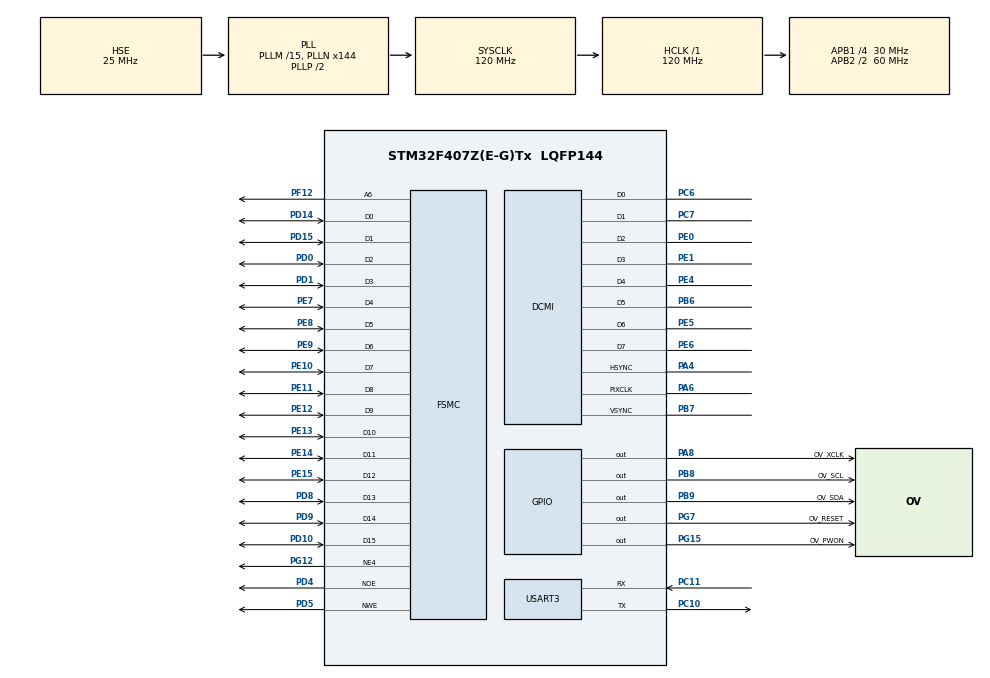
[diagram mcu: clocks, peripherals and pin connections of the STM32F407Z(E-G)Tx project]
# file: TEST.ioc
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DCMI.PCKPolarity=DCMI_PCKPOLARITY_RISING
Dma.DCMI.1.Direction=DMA_PERIPH_TO_MEMORY
Dma.DCMI.1.FIFOMode=DMA_FIFOMODE_ENABLE
Dma.DCMI.1.FIFOThreshold=DMA_FIFO_THRESHOLD_FULL
Dma.DCMI.1.Instance=DMA2_Stream1
Dma.DCMI.1.MemBurst=DMA_MBURST_SINGLE
Dma.DCMI.1.MemDataAlignment=DMA_MDATAALIGN_HALFWORD
Dma.DCMI.1.MemInc=DMA_MINC_ENABLE
Dma.DCMI.1.Mode=DMA_CIRCULAR
Dma.DCMI.1.PeriphBurst=DMA_PBURST_SINGLE
Dma.DCMI.1.PeriphDataAlignment=DMA_PDATAALIGN_WORD
Dma.DCMI.1.PeriphInc=DMA_PINC_DISABLE
Dma.DCMI.1.Priority=DMA_PRIORITY_LOW
Dma.MEMTOMEM.0.Direction=DMA_MEMORY_TO_MEMORY
Dma.MEMTOMEM.0.FIFOMode=DMA_FIFOMODE_ENABLE
Dma.MEMTOMEM.0.FIFOThreshold=DMA_FIFO_THRESHOLD_FULL
Dma.MEMTOMEM.0.Instance=DMA2_Stream0
Dma.MEMTOMEM.0.MemBurst=DMA_MBURST_SINGLE
Dma.MEMTOMEM.0.MemDataAlignment=DMA_MDATAALIGN_HALFWORD
Dma.MEMTOMEM.0.MemInc=DMA_MINC_DISABLE
Dma.MEMTOMEM.0.Mode=DMA_NORMAL
Dma.MEMTOMEM.0.PeriphBurst=DMA_PBURST_SINGLE
Dma.MEMTOMEM.0.PeriphDataAlignment=DMA_PDATAALIGN_HALFWORD
Dma.MEMTOMEM.0.PeriphInc=DMA_PINC_ENABLE
Dma.MEMTOMEM.0.Priority=DMA_PRIORITY_LOW
Dma.Request0=MEMTOMEM
Dma.Request1=DCMI
FSMC.AddressSetupTime4=15
FSMC.BusTurnAroundDuration4=0
FSMC.DataSetupTime4=60
FSMC.ExtendedAddressSetupTime4=9
FSMC.ExtendedBusTurnAroundDuration4=0
FSMC.ExtendedDataSetupTime4=8
FSMC.ExtendedMode4=FSMC_EXTENDED_MODE_ENABLE
Mcu.Family=STM32F4
Mcu.Name=STM32F407Z(E-G)Tx
Mcu.Package=LQFP144
NVIC.DMA2_Stream1_IRQn=true\:0\:0\:false\:false\:true\:false\:true\:true
NVIC.PriorityGroup=NVIC_PRIORITYGROUP_4
PA13.Mode=Serial_Wire
PA13.Signal=SYS_JTMS-SWDIO
PA14.Mode=Serial_Wire
PA14.Signal=SYS_JTCK-SWCLK
PA4.GPIO_PuPd=GPIO_PULLUP
PA4.GPIO_Speed=GPIO_SPEED_FREQ_VERY_HIGH
PA4.Mode=Slave_8_bits_External_Synchro
PA4.Signal=DCMI_HSYNC
PA6.GPIO_PuPd=GPIO_PULLUP
PA6.GPIO_Speed=GPIO_SPEED_FREQ_VERY_HIGH
PA6.Mode=Slave_8_bits_External_Synchro
PA6.Signal=DCMI_PIXCLK
PA8.GPIO_Label=OV_XCLK
PA8.GPIO_PuPd=GPIO_PULLUP
PA8.GPIO_Speed=GPIO_SPEED_FREQ_HIGH
PA8.PinState=GPIO_PIN_SET
PA8.Signal=GPIO_Output
PB6.GPIO_PuPd=GPIO_PULLUP
PB6.GPIO_Speed=GPIO_SPEED_FREQ_VERY_HIGH
PB6.Mode=Slave_8_bits_External_Synchro
PB6.Signal=DCMI_D5
PB7.GPIO_PuPd=GPIO_PULLUP
PB7.GPIO_Speed=GPIO_SPEED_FREQ_VERY_HIGH
PB7.Mode=Slave_8_bits_External_Synchro
PB7.Signal=DCMI_VSYNC
PB8.GPIO_Label=OV_SCL
PB8.GPIO_PuPd=GPIO_PULLUP
PB8.GPIO_Speed=GPIO_SPEED_FREQ_HIGH
PB8.Signal=GPIO_Output
PB9.GPIO_Label=OV_SDA
PB9.GPIO_PuPd=GPIO_PULLUP
PB9.GPIO_Speed=GPIO_SPEED_FREQ_HIGH
PB9.Signal=GPIO_Output
PC10.Mode=Asynchronous
PC10.Signal=USART3_TX
PC11.Mode=Asynchronous
PC11.Signal=USART3_RX
PC6.GPIO_PuPd=GPIO_PULLUP
PC6.GPIO_Speed=GPIO_SPEED_FREQ_VERY_HIGH
PC6.Mode=Slave_8_bits_External_Synchro
PC6.Signal=DCMI_D0
PC7.GPIO_PuPd=GPIO_PULLUP
PC7.GPIO_Speed=GPIO_SPEED_FREQ_VERY_HIGH
PC7.Mode=Slave_8_bits_External_Synchro
PC7.Signal=DCMI_D1
PD0.Signal=FSMC_D2_DA2
PD1.Signal=FSMC_D3_DA3
PD10.Signal=FSMC_D15_DA15
PD14.Signal=FSMC_D0_DA0
PD15.Signal=FSMC_D1_DA1
PD4.Signal=FSMC_NOE
PD5.Signal=FSMC_NWE
PD8.Signal=FSMC_D13_DA13
PD9.Signal=FSMC_D14_DA14
PE0.GPIO_PuPd=GPIO_PULLUP
PE0.GPIO_Speed=GPIO_SPEED_FREQ_VERY_HIGH
PE0.Mode=Slave_8_bits_External_Synchro
PE0.Signal=DCMI_D2
PE1.GPIO_PuPd=GPIO_PULLUP
PE1.GPIO_Speed=GPIO_SPEED_FREQ_VERY_HIGH
PE1.Mode=Slave_8_bits_External_Synchro
PE1.Signal=DCMI_D3
PE10.Signal=FSMC_D7_DA7
PE11.Signal=FSMC_D8_DA8
PE12.Signal=FSMC_D9_DA9
PE13.Signal=FSMC_D10_DA10
PE14.Signal=FSMC_D11_DA11
PE15.Signal=FSMC_D12_DA12
PE4.GPIO_PuPd=GPIO_PULLUP
PE4.GPIO_Speed=GPIO_SPEED_FREQ_VERY_HIGH
PE4.Mode=Slave_8_bits_External_Synchro
PE4.Signal=DCMI_D4
PE5.GPIO_PuPd=GPIO_PULLUP
PE5.GPIO_Speed=GPIO_SPEED_FREQ_VERY_HIGH
PE5.Mode=Slave_8_bits_External_Synchro
PE5.Signal=DCMI_D6
PE6.GPIO_PuPd=GPIO_PULLUP
PE6.GPIO_Speed=GPIO_SPEED_FREQ_VERY_HIGH
PE6.Mode=Slave_8_bits_External_Synchro
PE6.Signal=DCMI_D7
PE7.Signal=FSMC_D4_DA4
PE8.Signal=FSMC_D5_DA5
PE9.Signal=FSMC_D6_DA6
PF12.Signal=FSMC_A6
PG12.Mode=NorPsramChipSelect4_4
PG12.Signal=FSMC_NE4
PG15.GPIO_Label=OV_PWON
PG15.GPIO_PuPd=GPIO_PULLUP
PG15.GPIO_Speed=GPIO_SPEED_FREQ_HIGH
PG15.Signal=GPIO_Output
PG7.GPIO_Label=OV_RESET
PG7.GPIO_PuPd=GPIO_PULLUP
PG7.GPIO_Speed=GPIO_SPEED_FREQ_HIGH
PG7.Signal=GPIO_Output
PH0-OSC_IN.Mode=HSE-External-Oscillator
PH0-OSC_IN.Signal=RCC_OSC_IN
PH1-OSC_OUT.Mode=HSE-External-Oscillator
PH1-OSC_OUT.Signal=RCC_OSC_OUT
ProjectManager.HeapSize=0x400
ProjectManager.StackSize=0x800
ProjectManager.TargetToolchain=MDK-ARM V5.32
RCC.48MHZClocksFreq_Value=48000000
RCC.AHBFreq_Value=120000000
RCC.APB1CLKDivider=RCC_HCLK_DIV4
RCC.APB1Freq_Value=30000000
RCC.APB1TimFreq_Value=60000000
RCC.APB2CLKDivider=RCC_HCLK_DIV2
RCC.APB2Freq_Value=60000000
RCC.APB2TimFreq_Value=120000000
RCC.CortexFreq_Value=120000000
RCC.HCLKFreq_Value=120000000
RCC.HSE_VALUE=25000000
RCC.HSI_VALUE=16000000
RCC.LSE_VALUE=32768
RCC.PLLM=15
RCC.PLLN=144
RCC.PLLQ=5
RCC.PLLSourceVirtual=RCC_PLLSOURCE_HSE
RCC.SYSCLKFreq_VALUE=120000000
RCC.SYSCLKSource=RCC_SYSCLKSOURCE_PLLCLK
RCC.VCOOutputFreq_Value=240000000
SH.FSMC_A6.0=FSMC_A6,A6_4
SH.FSMC_D0_DA0.0=FSMC_D0,16b-d4
SH.FSMC_D10_DA10.0=FSMC_D10,16b-d4
SH.FSMC_D11_DA11.0=FSMC_D11,16b-d4
SH.FSMC_D12_DA12.0=FSMC_D12,16b-d4
SH.FSMC_D13_DA13.0=FSMC_D13,16b-d4
SH.FSMC_D14_DA14.0=FSMC_D14,16b-d4
SH.FSMC_D15_DA15.0=FSMC_D15,16b-d4
SH.FSMC_D1_DA1.0=FSMC_D1,16b-d4
SH.FSMC_D2_DA2.0=FSMC_D2,16b-d4
SH.FSMC_D3_DA3.0=FSMC_D3,16b-d4
SH.FSMC_D4_DA4.0=FSMC_D4,16b-d4
SH.FSMC_D5_DA5.0=FSMC_D5,16b-d4
SH.FSMC_D6_DA6.0=FSMC_D6,16b-d4
SH.FSMC_D7_DA7.0=FSMC_D7,16b-d4
SH.FSMC_D8_DA8.0=FSMC_D8,16b-d4
SH.FSMC_D9_DA9.0=FSMC_D9,16b-d4
SH.FSMC_NOE.0=FSMC_NOE,Lcd4
SH.FSMC_NWE.0=FSMC_NWE,Lcd4
USART3.VirtualMode=VM_ASYNC
board=custom

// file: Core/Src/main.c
/* USER CODE BEGIN Header */
/**
  ******************************************************************************
  * @file           : main.c
  * @brief          : Main program body
  ******************************************************************************
  * @attention
  *
  * Copyright (c) 2025 STMicroelectronics.
  * All rights reserved.
  *
  * This software is licensed under terms that can be found in the LICENSE file
  * in the root directory of this software component.
  * If no LICENSE file comes with this software, it is provided AS-IS.
  *
  ******************************************************************************
  */
/* USER CODE END Header */
#include "main.h"
#include "dcmi.h"
#include "dma.h"
#include "usart.h"
#include "gpio.h"
#include "fsmc.h"

/* USER CODE BEGIN Includes */
#include "stdio.h"
#include "lcd.h"
#include "ov2640.h"
#include "sccb.h"
/* USER CODE END Includes */

void SystemClock_Config(void);

int main(void)
{

  /* MCU Configuration--------------------------------------------------------*/

  /* Reset of all peripherals, Initializes the Flash interface and the Systick. */
  HAL_Init();

  /* Configure the system clock */
  SystemClock_Config();

  /* Initialize all configured peripherals */
  MX_GPIO_Init();
  MX_DMA_Init();
  MX_FSMC_Init();
  MX_USART3_UART_Init();
  MX_DCMI_Init();
  /* USER CODE BEGIN 2 */
	LCD_Init();
	LCD_Clear(WHITE);
	HAL_Delay(100);
  OV2640_Init();
	HAL_Delay(200);
	OV2640_OutSize_Set(lcddev.width,lcddev.height);
	OV2640_ImageSize_Set(1600,1200);
	OV2640_Auto_Exposure(1);
	OV2640_Light_Mode(0);

	LCD_SetCursor(0,0);
	LCD_WriteRAM_Prepare();
	HAL_DCMI_Start_DMA(&hdcmi, DCMI_MODE_CONTINUOUS, (uint32_t)&(LCD->LCD_RAM), 1);

  /* USER CODE END 2 */

  /* Infinite loop */
  /* USER CODE BEGIN WHILE */
//	HAL_Delay(3000);
//	CDC_Transmit_FS("START", 5);

  while (1)
  {

    /* USER CODE END WHILE */

  }
}

void SystemClock_Config(void)
{
  RCC_OscInitTypeDef RCC_OscInitStruct = {0};
  RCC_ClkInitTypeDef RCC_ClkInitStruct = {0};

  /** Configure the main internal regulator output voltage
  */
  __HAL_RCC_PWR_CLK_ENABLE();
  __HAL_PWR_VOLTAGESCALING_CONFIG(PWR_REGULATOR_VOLTAGE_SCALE1);

  /** Initializes the RCC Oscillators according to the specified parameters
  * in the RCC_OscInitTypeDef structure.
  */
  RCC_OscInitStruct.OscillatorType = RCC_OSCILLATORTYPE_HSE;
  RCC_OscInitStruct.HSEState = RCC_HSE_ON;
  RCC_OscInitStruct.PLL.PLLState = RCC_PLL_ON;
  RCC_OscInitStruct.PLL.PLLSource = RCC_PLLSOURCE_HSE;
  RCC_OscInitStruct.PLL.PLLM = 15;
  RCC_OscInitStruct.PLL.PLLN = 144;
  RCC_OscInitStruct.PLL.PLLP = RCC_PLLP_DIV2;
  RCC_OscInitStruct.PLL.PLLQ = 5;
  if (HAL_RCC_OscConfig(&RCC_OscInitStruct) != HAL_OK)
  {
    Error_Handler();
  }

  /** Initializes the CPU, AHB and APB buses clocks
  */
  RCC_ClkInitStruct.ClockType = RCC_CLOCKTYPE_HCLK|RCC_CLOCKTYPE_SYSCLK
                              |RCC_CLOCKTYPE_PCLK1|RCC_CLOCKTYPE_PCLK2;
  RCC_ClkInitStruct.SYSCLKSource = RCC_SYSCLKSOURCE_PLLCLK;
  RCC_ClkInitStruct.AHBCLKDivider = RCC_SYSCLK_DIV1;
  RCC_ClkInitStruct.APB1CLKDivider = RCC_HCLK_DIV4;
  RCC_ClkInitStruct.APB2CLKDivider = RCC_HCLK_DIV2;

  if (HAL_RCC_ClockConfig(&RCC_ClkInitStruct, FLASH_LATENCY_3) != HAL_OK)
  {
    Error_Handler();
  }
}

void Error_Handler(void)
{
  __disable_irq();
  while (1)
  {
  }
}
